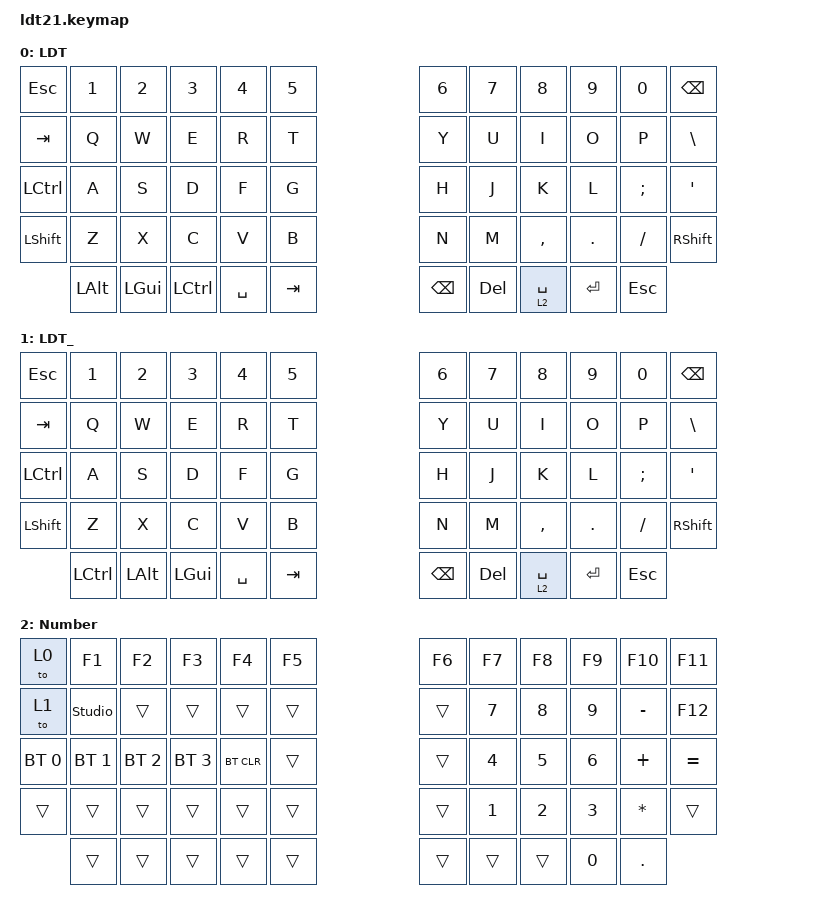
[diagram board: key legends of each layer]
/*
 * Copyright (c) 2020 The ZMK Contributors
 * LDT
 * SPDX-License-Identifier: MIT
 */

#include <behaviors.dtsi>
#include <dt-bindings/zmk/bt.h>
#include <dt-bindings/zmk/keys.h>

#define DEF 0
#define NAV 1
#define NUM 2

/ {
    combos {
        compatible = "zmk,combos";

        // Thumb combos

        combo_enter {
            bindings = <&kp ENTER>;
            key-positions = <49 48>;
        };

        combo_space {
            bindings = <&kp SPACE>;
            key-positions = <50 49>;
        };

        combo_del {
            bindings = <&kp DELETE>;
            key-positions = <48 49 50>;
        };

        // Brackets - Ngoặc vuông []

        combo_lbkt {
            bindings = <&kp LBKT>;
            key-positions = <19 31>;
            layers = <0 1>;
        };

        combo_rbkt {
            bindings = <&kp RBKT>;
            key-positions = <20 32>;
            layers = <0 1>;
        };

        // Braces - Ngoặc nhọn {}

        combo_lbrc {
            bindings = <&kp LBRC>;
            key-positions = <20 31>;
            layers = <0 1>;
        };

        combo_rbrc {
            bindings = <&kp RBRC>;
            key-positions = <32 21>;
            layers = <0 1>;
        };

        // Parentheses - Ngoặc tròn ()

        combo_lpar {
            bindings = <&kp LPAR>;
            key-positions = <32 43>;
            layers = <0 1>;
        };

        combo_rpar {
            bindings = <&kp RPAR>;
            key-positions = <33 44>;
            layers = <0 1>;
        };

        // Special chars

        combo_grave {
            bindings = <&kp GRAVE>;
            key-positions = <13 25>;
            layers = <0 1>;
        };

        combo_tilde {
            bindings = <&kp TILDE>;
            key-positions = <18 19>;
            layers = <0 1>;
        };

        combo_plus {
            bindings = <&kp PLUS>;
            key-positions = <20 19>;
            layers = <0 1>;
        };

        combo_minus {
            bindings = <&kp MINUS>;
            key-positions = <31 32>;
            layers = <0 1>;
        };

        combo_under {
            bindings = <&kp UNDER>;
            key-positions = <44 43>;
            layers = <0 1>;
        };

        combo_equal {
            bindings = <&kp EQUAL>;
            key-positions = <32 33>;
            layers = <0 1>;
        };

        combo_excl {
            bindings = <&kp EXCL>;
            key-positions = <29 17>;
        };

        combo_pipe {
            bindings = <&kp PIPE>;
            key-positions = <16 28>;
        };

        combo_dllr {
            bindings = <&kp DLLR>;
            key-positions = <15 28>;
        };

        combo_prcnt {
            bindings = <&kp PRCNT>;
            key-positions = <16 27>;
        };

        combo_star {
            bindings = <&kp STAR>;
            key-positions = <16 15>;
        };

        combo_amps {
            bindings = <&kp AMPS>;
            key-positions = <28 27>;
        };

        combo_hash {
            bindings = <&kp HASH>;
            key-positions = <17 28>;
        };

        combo_bslh {
            bindings = <&kp BSLH>;
            key-positions = <16 29>;
        };

        combo_caret {
            bindings = <&kp CARET>;
            key-positions = <16 17>;
        };

        combo_at {
            bindings = <&kp AT>;
            key-positions = <29 28>;
        };

        // Word navigation - Windows (Layer 0)

        combo_wbksp {
            bindings = <&kp LC(BSPC)>;
            key-positions = <55 22>;
            layers = <0>;
        };

        combo_wleft {
            bindings = <&kp LC(LEFT)>;
            key-positions = <55 31>;
            layers = <0>;
        };

        combo_wdown {
            bindings = <&kp LC(DOWN)>;
            key-positions = <55 32>;
            layers = <0>;
        };

        combo_wright {
            bindings = <&kp LC(RIGHT)>;
            key-positions = <55 33>;
            layers = <0>;
        };

        combo_wup {
            bindings = <&kp LC(UP)>;
            key-positions = <55 20>;
            layers = <0>;
        };

        // Word navigation - Mac (Layer 1)

        combo_wbksp_mac {
            bindings = <&kp LA(BSPC)>;
            key-positions = <55 22>;
            layers = <1>;
        };

        combo_wleft_mac {
            bindings = <&kp LA(LEFT)>;
            key-positions = <55 31>;
            layers = <1>;
        };

        combo_wdown_mac {
            bindings = <&kp LA(DOWN)>;
            key-positions = <55 32>;
            layers = <1>;
        };

        combo_wup_mac {
            bindings = <&kp LA(UP)>;
            key-positions = <55 20>;
            layers = <1>;
        };

        // Arrow keys

        combo_left {
            bindings = <&kp LEFT>;
            key-positions = <56 31>;
        };

        combo_right {
            bindings = <&kp RIGHT>;
            key-positions = <56 33>;
        };

        combo_up {
            bindings = <&kp UP>;
            key-positions = <56 20>;
        };

        combo_down {
            bindings = <&kp DOWN>;
            key-positions = <56 32>;
        };

        tab {
            bindings = <&kp TAB>;
            key-positions = <25 26>;
        };

        esc {
            bindings = <&kp ESCAPE>;
            key-positions = <13 14>;
        };

        backspace {
            bindings = <&kp BACKSPACE>;
            key-positions = <21 22>;
        };

        enter {
            bindings = <&kp ENTER>;
            key-positions = <33 34>;
        };

        combo_wright_mac {
            bindings = <&kp LA(RIGHT)>;
            key-positions = <55 33>;
            layers = <1>;
        };

        combo_sqt {
            bindings = <&kp SQT>;
            key-positions = <18 30>;
        };

        combo_dbsql {
            bindings = <&kp DOUBLE_QUOTES>;
            key-positions = <19 30>;
        };
    };

    keymap {
        compatible = "zmk,keymap";

        // Thumb: 3 phim vong tren  |  2 phim moi hang duoi
        // trai  = cols 1,2,3 (48,49,50) | cols 4,5 (51,52)
        // phai  = cols 6,7 (53,54)      | cols 8,9,10 (55,56,57)

        ldt21_layer {
            label = "LDT";
            bindings = <
&kp ESC     &kp N1  &kp N2  &kp N3    &kp N4    &kp N5                        &kp N6       &kp N7     &kp N8     &kp N9   &kp N0    &kp BSPC
&kp TAB     &kp Q   &kp W   &kp E     &kp R     &kp T                         &kp Y        &kp U      &kp I      &kp O    &kp P     &kp BSLH
&kp LCTRL   &kp A   &kp S   &kp D     &kp F     &kp G                         &kp H        &kp J      &kp K      &kp L    &kp SEMI  &kp SQT
&kp LSHFT   &kp Z   &kp X   &kp C     &kp V     &kp B                         &kp N        &kp M      &kp COMMA  &kp DOT  &kp FSLH  &kp RSHFT
        &kp LALT  &kp LGUI  &kp LCTRL      &kp SPACE  &kp TAB               &kp BSPC  &kp DEL       &lt 2 SPACE  &kp ENTER  &kp ESC
            >;
        };

        mac_layer {
            label = "LDT_";
            bindings = <
&kp ESC     &kp N1  &kp N2  &kp N3    &kp N4    &kp N5                        &kp N6       &kp N7     &kp N8     &kp N9   &kp N0    &kp BSPC
&kp TAB     &kp Q   &kp W   &kp E     &kp R     &kp T                         &kp Y        &kp U      &kp I      &kp O    &kp P     &kp BSLH
&kp LCTRL   &kp A   &kp S   &kp D     &kp F     &kp G                         &kp H        &kp J      &kp K      &kp L    &kp SEMI  &kp SQT
&kp LSHFT   &kp Z   &kp X   &kp C     &kp V     &kp B                         &kp N        &kp M      &kp COMMA  &kp DOT  &kp FSLH  &kp RSHFT
        &kp LCTRL  &kp LALT  &kp LGUI      &kp SPACE  &kp TAB               &kp BSPC  &kp DEL       &lt 2 SPACE  &kp ENTER  &kp ESC
            >;
        };

        number_layer {
            label = "Number";
            bindings = <
&to 0         &kp F1        &kp F2          &kp F3        &kp F4      &kp F5           &kp F6     &kp F7        &kp F8        &kp F9        &kp F10   &kp F11
&to 1         &studio_unlock  &trans        &trans        &trans      &trans           &trans     &kp N7        &kp N8        &kp N9        &kp MINUS &kp F12
&bt BT_SEL 0  &bt BT_SEL 1  &bt BT_SEL 2    &bt BT_SEL 3  &bt BT_CLR  &trans           &trans     &kp N4        &kp N5        &kp N6        &kp PLUS  &kp EQUAL
&trans        &trans        &trans          &trans        &trans      &trans           &trans     &kp N1        &kp N2        &kp N3        &kp STAR  &trans
        &trans  &trans  &trans              &trans  &trans                   &trans  &trans        &trans  &kp N0  &kp DOT
            >;
        };
    };
};
